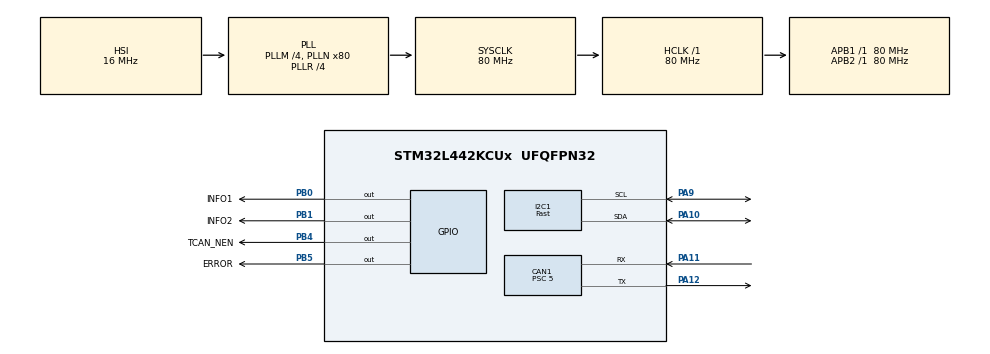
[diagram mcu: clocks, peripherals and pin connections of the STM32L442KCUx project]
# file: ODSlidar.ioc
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CAN1.BS1=CAN_BS1_13TQ
CAN1.BS2=CAN_BS2_2TQ
CAN1.CalculateTimeQuantum=62.5
CAN1.Prescaler=5
I2C1.I2C_Speed_Mode=I2C_Fast
I2C1.Timing=0x00702991
Mcu.Family=STM32L4
Mcu.Name=STM32L442KCUx
Mcu.Package=UFQFPN32
NVIC.CAN1_RX0_IRQn=true\:0\:0\:false\:false\:true\:true
NVIC.PriorityGroup=NVIC_PRIORITYGROUP_4
NVIC.TIM1_BRK_TIM15_IRQn=true\:0\:0\:false\:false\:true\:true
NVIC.TIM1_UP_TIM16_IRQn=true\:0\:0\:false\:false\:true\:true
NVIC.TIM6_DAC_IRQn=true\:0\:0\:false\:false\:true\:false
NVIC.TIM7_IRQn=true\:0\:0\:false\:false\:true\:true
NVIC.TimeBase=TIM6_DAC_IRQn
NVIC.TimeBaseIP=TIM6
PA10.Mode=I2C
PA10.Signal=I2C1_SDA
PA11.Mode=Master
PA11.Signal=CAN1_RX
PA12.Mode=Master
PA12.Signal=CAN1_TX
PA9.Mode=I2C
PA9.Signal=I2C1_SCL
PB0.GPIO_Label=INFO1
PB0.Signal=GPIO_Output
PB1.GPIO_Label=INFO2
PB1.Signal=GPIO_Output
PB4\ (NJTRST).GPIO_Label=TCAN_NEN
PB4\ (NJTRST).Signal=GPIO_Output
PB5.GPIO_Label=ERROR
PB5.Signal=GPIO_Output
ProjectManager.HeapSize=0x200
ProjectManager.StackSize=0x400
ProjectManager.TargetToolchain=TrueSTUDIO
RCC.ADCFreq_Value=16000000
RCC.AHBFreq_Value=80000000
RCC.APB1Freq_Value=80000000
RCC.APB1TimFreq_Value=80000000
RCC.APB2Freq_Value=80000000
RCC.APB2TimFreq_Value=80000000
RCC.CortexFreq_Value=80000000
RCC.HCLKFreq_Value=80000000
RCC.HSE_VALUE=8000000
RCC.HSI48_VALUE=48000000
RCC.HSI_VALUE=16000000
RCC.LSE_VALUE=32768
RCC.MSI_VALUE=4000000
RCC.PLLM=4
RCC.PLLN=80
RCC.PLLR=RCC_PLLR_DIV4
RCC.PLLSourceVirtual=RCC_PLLSOURCE_HSI
RCC.SYSCLKFreq_VALUE=80000000
RCC.SYSCLKSource=RCC_SYSCLKSOURCE_PLLCLK
RCC.USBFreq_Value=16000000
RCC.VCOOutputFreq_Value=320000000
TIM15.AutoReloadPreload=TIM_AUTORELOAD_PRELOAD_ENABLE
TIM15.Period=1999
TIM15.Prescaler=39999
TIM16.AutoReloadPreload=TIM_AUTORELOAD_PRELOAD_ENABLE
TIM16.Period=149
TIM16.Prescaler=79
TIM7.AutoReloadPreload=TIM_AUTORELOAD_PRELOAD_ENABLE
TIM7.Period=159
TIM7.Prescaler=9999
VP_SYS_VS_tim6.Mode=TIM6
VP_TIM15_VS_ClockSourceINT.Mode=Internal
VP_TIM16_VS_ClockSourceINT.Mode=Enable_Timer
VP_TIM7_VS_ClockSourceINT.Mode=Enable_Timer
board=custom

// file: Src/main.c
/* USER CODE BEGIN Header */
/**
  ******************************************************************************
  * @file           : main.c
  * @brief          : Main program body
  ******************************************************************************
  ** This notice applies to any and all portions of this file
  * that are not between comment pairs USER CODE BEGIN and
  * USER CODE END. Other portions of this file, whether
  * inserted by the user or by software development tools
  * are owned by their respective copyright owners.
  *
  * COPYRIGHT(c) 2019 STMicroelectronics
  *
  * Redistribution and use in source and binary forms, with or without modification,
  * are permitted provided that the following conditions are met:
  *   1. Redistributions of source code must retain the above copyright notice,
  *      this list of conditions and the following disclaimer.
  *   2. Redistributions in binary form must reproduce the above copyright notice,
  *      this list of conditions and the following disclaimer in the documentation
  *      and/or other materials provided with the distribution.
  *   3. Neither the name of STMicroelectronics nor the names of its contributors
  *      may be used to endorse or promote products derived from this software
  *      without specific prior written permission.
  *
  * THIS SOFTWARE IS PROVIDED BY THE COPYRIGHT HOLDERS AND CONTRIBUTORS "AS IS"
  * AND ANY EXPRESS OR IMPLIED WARRANTIES, INCLUDING, BUT NOT LIMITED TO, THE
  * IMPLIED WARRANTIES OF MERCHANTABILITY AND FITNESS FOR A PARTICULAR PURPOSE ARE
  * DISCLAIMED. IN NO EVENT SHALL THE COPYRIGHT HOLDER OR CONTRIBUTORS BE LIABLE
  * FOR ANY DIRECT, INDIRECT, INCIDENTAL, SPECIAL, EXEMPLARY, OR CONSEQUENTIAL
  * DAMAGES (INCLUDING, BUT NOT LIMITED TO, PROCUREMENT OF SUBSTITUTE GOODS OR
  * SERVICES; LOSS OF USE, DATA, OR PROFITS; OR BUSINESS INTERRUPTION) HOWEVER
  * CAUSED AND ON ANY THEORY OF LIABILITY, WHETHER IN CONTRACT, STRICT LIABILITY,
  * OR TORT (INCLUDING NEGLIGENCE OR OTHERWISE) ARISING IN ANY WAY OUT OF THE USE
  * OF THIS SOFTWARE, EVEN IF ADVISED OF THE POSSIBILITY OF SUCH DAMAGE.
  *
  ******************************************************************************
  */
/* USER CODE END Header */

#include "main.h"
#include "can.h"
#include "i2c.h"
#include "tim.h"
#include "gpio.h"

/* USER CODE BEGIN Includes */
#include "structures.h"
#include "functions.h"
#include "errorFlags.h"
#include "lidar.h"

//can variables
extern CAN_RxHeaderTypeDef rFrame;
extern CAN_TxMailBox_TypeDef mailbox;
extern volatile uint8_t rFrameData[8];
volatile typ_CANTxBuffer CANTxBuffer;

typ_LidarBoard LidarBoardData;
extern TIM_HandleTypeDef htim7;
/* USER CODE END Includes */

/* USER CODE BEGIN PV */
/* Private variables ---------------------------------------------------------*/

/* USER CODE END PV */

void SystemClock_Config(void);
/* USER CODE BEGIN PFP */
/* Private function prototypes -----------------------------------------------*/

/* USER CODE END PFP */

int main(void)
{

  /* MCU Configuration--------------------------------------------------------*/

  /* Reset of all peripherals, Initializes the Flash interface and the Systick. */
  HAL_Init();

  /* Configure the system clock */
  SystemClock_Config();

  /* Initialize all configured peripherals */
  MX_GPIO_Init();
  MX_I2C1_Init();
  MX_CAN1_Init();
  MX_TIM7_Init();
  MX_TIM16_Init();
  MX_TIM15_Init();
  /* USER CODE BEGIN 2 */
  HAL_GPIO_WritePin(INFO1_GPIO_Port,INFO1_Pin|INFO2_Pin|ERROR_Pin,SET); // show start of board initialization
  HAL_Delay(500); // wait until ODSmain and lidar device initialization finished

  Clear_typLidarBoard(&LidarBoardData);
  SetBits(LidarBoardData.errorFlag,ODSMAIN_PERMISSION); //permission, from odsmain, to sending data is not granted yet

  //can configuration
  CAN_SetFilter();
  CAN_FramesInit();
  HAL_GPIO_WritePin(TCAN_NEN_GPIO_Port,TCAN_NEN_Pin,RESET);
  HAL_CAN_Start(&hcan1);
  HAL_CAN_ActivateNotification(&hcan1,CAN_IT_RX_FIFO0_MSG_PENDING);

  //lidar configuration
  LIDAR_Config((uint8_t)0x0); //default mode, balanced performance

  //tim7 interrupt, distance reading interrupt
  HAL_TIM_Base_Start_IT(&htim7);
  HAL_GPIO_WritePin(INFO1_GPIO_Port,INFO1_Pin|INFO2_Pin|ERROR_Pin,RESET); // show end of board initialization

  CAN_SendInitFrame();
  HAL_TIM_Base_Start_IT(&htim15);
  /* USER CODE END 2 */

  /* Infinite loop */
  while (1)
  {

  }
}

void SystemClock_Config(void)
{
  RCC_OscInitTypeDef RCC_OscInitStruct = {0};
  RCC_ClkInitTypeDef RCC_ClkInitStruct = {0};
  RCC_PeriphCLKInitTypeDef PeriphClkInit = {0};

  /**Initializes the CPU, AHB and APB busses clocks
  */
  RCC_OscInitStruct.OscillatorType = RCC_OSCILLATORTYPE_HSI;
  RCC_OscInitStruct.HSIState = RCC_HSI_ON;
  RCC_OscInitStruct.HSICalibrationValue = RCC_HSICALIBRATION_DEFAULT;
  RCC_OscInitStruct.PLL.PLLState = RCC_PLL_ON;
  RCC_OscInitStruct.PLL.PLLSource = RCC_PLLSOURCE_HSI;
  RCC_OscInitStruct.PLL.PLLM = 4;
  RCC_OscInitStruct.PLL.PLLN = 80;
  RCC_OscInitStruct.PLL.PLLP = RCC_PLLP_DIV7;
  RCC_OscInitStruct.PLL.PLLQ = RCC_PLLQ_DIV2;
  RCC_OscInitStruct.PLL.PLLR = RCC_PLLR_DIV4;
  if (HAL_RCC_OscConfig(&RCC_OscInitStruct) != HAL_OK)
  {
    Error_Handler();
  }
  /**Initializes the CPU, AHB and APB busses clocks
  */
  RCC_ClkInitStruct.ClockType = RCC_CLOCKTYPE_HCLK|RCC_CLOCKTYPE_SYSCLK
                              |RCC_CLOCKTYPE_PCLK1|RCC_CLOCKTYPE_PCLK2;
  RCC_ClkInitStruct.SYSCLKSource = RCC_SYSCLKSOURCE_PLLCLK;
  RCC_ClkInitStruct.AHBCLKDivider = RCC_SYSCLK_DIV1;
  RCC_ClkInitStruct.APB1CLKDivider = RCC_HCLK_DIV1;
  RCC_ClkInitStruct.APB2CLKDivider = RCC_HCLK_DIV1;

  if (HAL_RCC_ClockConfig(&RCC_ClkInitStruct, FLASH_LATENCY_4) != HAL_OK)
  {
    Error_Handler();
  }
  PeriphClkInit.PeriphClockSelection = RCC_PERIPHCLK_I2C1;
  PeriphClkInit.I2c1ClockSelection = RCC_I2C1CLKSOURCE_PCLK1;
  if (HAL_RCCEx_PeriphCLKConfig(&PeriphClkInit) != HAL_OK)
  {
    Error_Handler();
  }
  /**Configure the main internal regulator output voltage
  */
  if (HAL_PWREx_ControlVoltageScaling(PWR_REGULATOR_VOLTAGE_SCALE1) != HAL_OK)
  {
    Error_Handler();
  }
}

void HAL_TIM_PeriodElapsedCallback(TIM_HandleTypeDef *htim)
{
  if (htim->Instance == TIM6) {
    HAL_IncTick();
  }
}

void Error_Handler(void)
{
  while(1)
  {
  }
}

/************************ (C) COPYRIGHT STMicroelectronics *****END OF FILE****/
